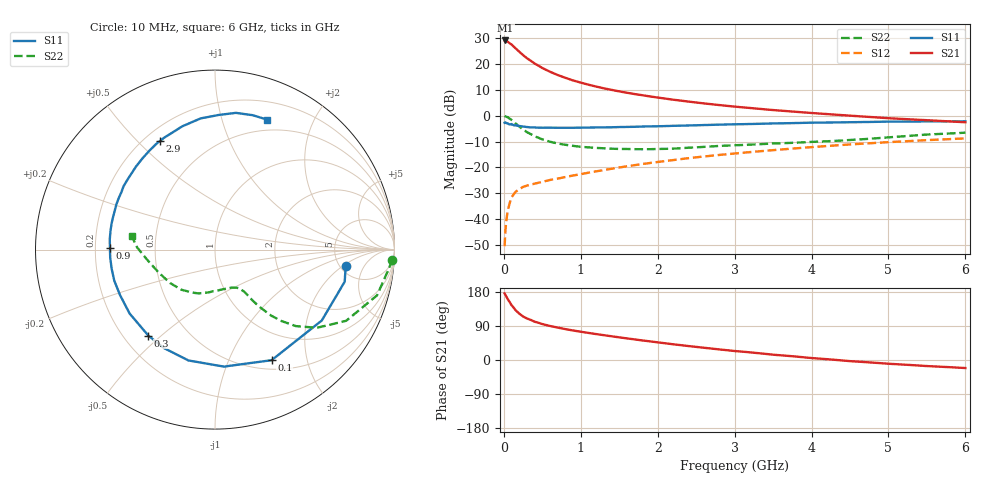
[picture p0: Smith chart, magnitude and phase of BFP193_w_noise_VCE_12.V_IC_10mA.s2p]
! Infineon Technologies  Discrete & RF Semiconductors
! BFP193
! VCE =  12. V,  IC =  10 mA
! Common Emitter S-Parameters:  Jan 2017
# GHz  S  MA  R  50
!  f  S11  S21  S12  S22
! GHz  MAG  ANG  MAG  ANG  MAG  ANG  MAG  ANG
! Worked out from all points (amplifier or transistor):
!   77 points, 10 MHz to 6 GHz, reference 50 ohm
!   highest |S21| = 29.1 dB at 20 MHz (marker M1)
!   |S21| within 3 dB of that: start of sweep to 151.5 MHz
!   unconditionally stable (mu >= 1): 1.176 GHz to 2.57 GHz
!   at 130 MHz: K = 0.23, MSG = 28.5 dB, |S12| = -30.3 dB
!   at 2.2 GHz: K = 1.03, MAG = 10.6 dB, |S12| = -17.2 dB
!   at 6 GHz: K = 0.85, MSG = 3.1 dB, |S12| = -8.8 dB
!   lowest NFmin = 0.87 dB at 450 MHz
!   S11 on the Smith chart (normalised r, x): 10 MHz: 5.64, -2.19; 100 MHz: 0.61, -1.45; 300 MHz: 0.30, -0.45; 900 MHz: 0.26, +0.01; 2.9 GHz: 0.26, +0.58; 6 GHz: 0.38, +1.41
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0.01  0.7338 -7.0  28.55 175.7  0.003 76.0  0.9903 -3.2
0.02  0.7444 -13.9  28.64 172.0  0.0058 83.9  0.9727 -6.6
0.05  0.7141 -33.6  27.14 160.7  0.0143 73.5  0.9379 -15.8
0.1  0.6922 -62.9  23.99 144.6  0.0262 63.0  0.8315 -28.5
0.15  0.6539 -85.6  20.38 131.9  0.0335 54.5  0.7155 -37.5
0.2  0.6351 -103.5  17.37 122.5  0.0379 49.4  0.6204 -43.4
0.25  0.618 -117.4  14.94 114.9  0.0421 45.8  0.5431 -47.1
0.3  0.6062 -127.8  12.98 109.6  0.0445 43.8  0.4829 -49.6
0.4  0.5943 -143.2  10.26 101.1  0.0485 43.3  0.4012 -52.2
0.5  0.5866 -154.5  8.395 94.8  0.0527 43.2  0.3496 -53.6
0.6  0.5873 -162.9  7.112 89.8  0.0573 44.4  0.3148 -54.4
0.7  0.5856 -169.7  6.143 85.5  0.0608 46.0  0.2907 -55.0
0.9  0.5854 179.0  4.826 77.9  0.0699 48.4  0.2619 -57.3
1.1  0.5913 170.1  3.994 71.5  0.0792 50.3  0.2448 -60.3
1.3  0.5964 162.2  3.398 65.5  0.0888 51.5  0.235 -64.4
1.5  0.6046 155.2  2.963 59.8  0.0998 52.1  0.228 -69.5
2.1  0.6319 136.4  2.147 44.1  0.1332 51.2  0.2291 -88.5
2.9  0.6785 116.8  1.557 25.9  0.1803 46.5  0.2644 -113.7
3.1  0.6881 112.6  1.458 22.0  0.1921 44.9  0.2721 -119.4
4.1  0.7373 94.6  1.105 3.7  0.2534 36.0  0.3162 -146.7
5.1  0.7712 79.9  0.881 -11.0  0.3144 25.3  0.3915 -173.7
6  0.7803 68.1  0.749 -21.2  0.365 15.0  0.4707 170.7
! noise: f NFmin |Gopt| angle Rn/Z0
0.45  0.87  0.21  156  0.07
0.9  1  0.35  173  0.06
1.9  1.75  0.57  -146  0.13
2.4  2.13  0.63  -128  0.31
